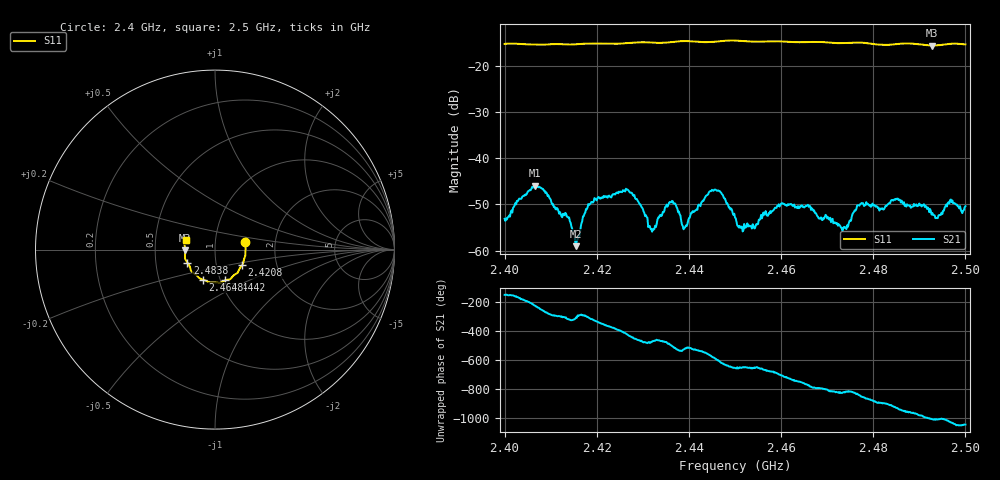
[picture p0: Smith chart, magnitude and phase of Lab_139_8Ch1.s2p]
# Hz S RI R 50
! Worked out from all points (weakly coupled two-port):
!   601 points, 2.4 GHz to 2.5 GHz, reference 50 ohm
!   highest |S21| = -45.91 dB at 2.4065 GHz (marker M1); lowest = -59.0 dB at 2.4155 GHz (marker M2)
!   lowest |S11| = -15.6 dB at 2.4928 GHz (marker M3), VSWR 1.40, Z = 35.8 - j0.359 ohm
!   |S11| at or under -10 dB: start of sweep to end of sweep
!   S12 and S22 are empty: the file has one direction only
!   S11 on the Smith chart (normalised r, x): 2.4 GHz: 1.40, +0.12; 2.4208 GHz: 1.33, -0.24; 2.4442 GHz: 1.05, -0.37; 2.4648 GHz: 0.83, -0.29; 2.4838 GHz: 0.73, -0.11; 2.5 GHz: 0.72, +0.08
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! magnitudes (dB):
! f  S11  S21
! 2.4 GHz  -15.3  -53.1
! 2.4065 GHz  -15.4  -45.9
! 2.4155 GHz  -15.3  -59.0
! 2.4167 GHz  -15.2  -54.1
! 2.4208 GHz  -15.2  -48.8
! 2.4268 GHz  -15.1  -46.9
! 2.4317 GHz  -15.0  -55.3
! 2.4333 GHz  -15.0  -52.8
! 2.4363 GHz  -14.9  -49.2
! 2.4392 GHz  -14.6  -54.9
! 2.4442 GHz  -14.9  -47.8
! 2.4468 GHz  -14.7  -47.3
! 2.45 GHz  -14.5  -52.8
! 2.454 GHz  -14.8  -54.7
! 2.4648 GHz  -14.9  -50.5
! 2.4667 GHz  -14.8  -50.8
! 2.4737 GHz  -15.1  -54.9
! 2.477 GHz  -15.0  -50.3
! 2.4833 GHz  -15.5  -49.9
! 2.4838 GHz  -15.4  -49.2
! 2.4928 GHz  -15.6  -51.9
! 2.5 GHz  -15.4  -50.4
